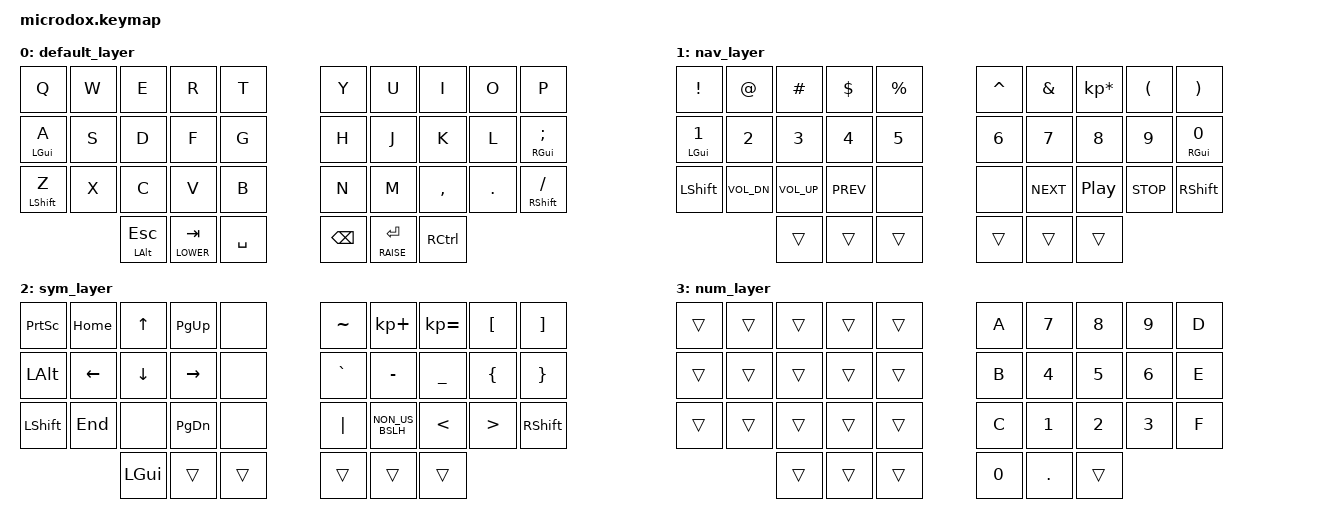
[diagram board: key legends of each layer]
/*
 * Copyright (c) 2020 The ZMK Contributors
 *
 * SPDX-License-Identifier: MIT
 */

#include <behaviors.dtsi>
#include <dt-bindings/zmk/keys.h>
#include <dt-bindings/zmk/bt.h>

#define DEFAULT 0
#define LOWER   1
#define RAISE   2

&mt {
    tapping-term-ms = <200>;
};

/ {
    combos {
        compatible = "zmk,combos";
        combo_quot {
            timeout-ms = <50>;
            key-positions = <16 17>;
            bindings = <&kp SQT>;
        };
        combo_dquot {
            timeout-ms = <50>;
            key-positions = <17 18>;
            bindings = <&kp DQT>;
        };
    };
};

/ {
        keymap {
                compatible = "zmk,keymap";

                default_layer {
// -----------------------------------------------------------------------------------------
// |  Q  |  W  |  E  |  R  |  T   |   |  Y  |  U   |  I  |  O  |  P  |
// |  A  |  S  |  D  |  F  |  G   |   |  H  |  J   |  K  |  L  |  ;  |
// |  Z  |  X  |  C  |  V  |  B   |   |  N  |  M   |  ,  |  .  |  /  |
//             | ALT | LWR | SPAC |   | BSC | RSE  | CTL |
                        bindings = <
   &kp Q &kp W &kp E &kp R &kp T   &kp Y &kp U  &kp I     &kp O   &kp P
   &mt LGUI A &kp S &kp D &kp F &kp G   &kp H &kp J  &kp K     &kp L   &mt RGUI SEMI
   &mt LSHFT Z &kp X &kp C &kp V &kp B   &kp N &kp M  &kp COMMA &kp DOT &mt RSHFT FSLH
          &mt LALT ESC &lt LOWER TAB &kp SPACE &kp BSPC &lt RAISE ENTER &kp RCTRL
                        >;
                };
                nav_layer {
// -----------------------------------------------------------------------------------------
// |  !  |  @  |  #  |  $  |  %  |   |  ^  |  &  |  *  |  (  |  )  |
// |  1  |  2  |  3  |  4  |  5  |   |  6  |  7  |  8  |  9  |  0  |
// | BT2 |     |     |      |     |   |  \  | ENT  |      |     |      |
//             |     |      |     |   |     |      |      |
                        bindings = <
   &kp EXCL  &kp AT    &kp HASH  &kp DLLR  &kp PRCNT   &kp CARET &kp AMPS  &kp KP_MULTIPLY &kp LPAR &kp RPAR
   &mt LGUI N1 &kp N2 &kp N3 &kp N4 &kp N5      &kp N6 &kp N7 &kp N8 &kp N9 &mt RGUI N0
   &kp LSHFT &kp C_VOL_DN      &kp C_VOL_UP   &kp C_PREV    &none     &none &kp C_NEXT  &kp C_PP   &kp C_STOP    &kp RSHFT
                            &trans   &trans    &trans     &trans   &trans   &trans
                        >;
                };

                sym_layer {
// -----------------------------------------------------------------------------------------
// |  !  |  @  |  #  |  $  |  %  |   |  ^  |  &  |  *  |  (  |  )  |
// |     |     |     |     |     |   |  -  |  =  |  {  |  }  | "|" |
// |     |     |     |     |     |   |  _  |  +  |  [  |  ]  |  \  |
//             | GUI |     | SPC |   | ENT |     | ALT |
                        bindings = <
   &kp PSCRN  &kp HOME    &kp UP  &kp PG_UP        &none   &kp TILDE &kp KP_PLUS  &kp KP_EQUAL &kp LBKT &kp RBKT
   &kp LALT    &kp LEFT    &kp DOWN    &kp RIGHT    &none      &kp GRAVE &kp MINUS &kp UNDER        &kp LBRC &kp RBRC
   &kp LSHFT    &kp END    &none    &kp PG_DN    &none      &kp PIPE    &kp NON_US_BSLH    &kp LT          &kp GT   &kp RSHFT
                       &kp LGUI  &trans    &trans   &trans   &trans    &trans
                        >;
                };

// This layer is unreachable until "tri layer state" is sorted out.
// Leaving it here for completeness.
                num_layer {
// -----------------------------------------------------------------------------------------
// |     |     |     |     |     |   |  A  |  7  |  8  |  9  |  D  |
// |     |     |     |     |     |   |  B  |  4  |  5  |  6  |  E  |
// |     |     |     |     |     |   |  C  |  1  |  2  |  3  |  F  |
//             |     |     |     |   |  0  |  .  |     |
                        bindings = <
   &trans &trans &trans &trans &trans    &kp A  &kp N7  &kp N8 &kp N9 &kp D
   &trans &trans &trans &trans &trans    &kp B  &kp N4  &kp N5 &kp N6 &kp E
   &trans &trans &trans &trans &trans    &kp C  &kp N1  &kp N2 &kp N3 &kp F
                 &trans &trans &trans    &kp N0 &kp DOT &trans
                        >;
                };
        };
};
